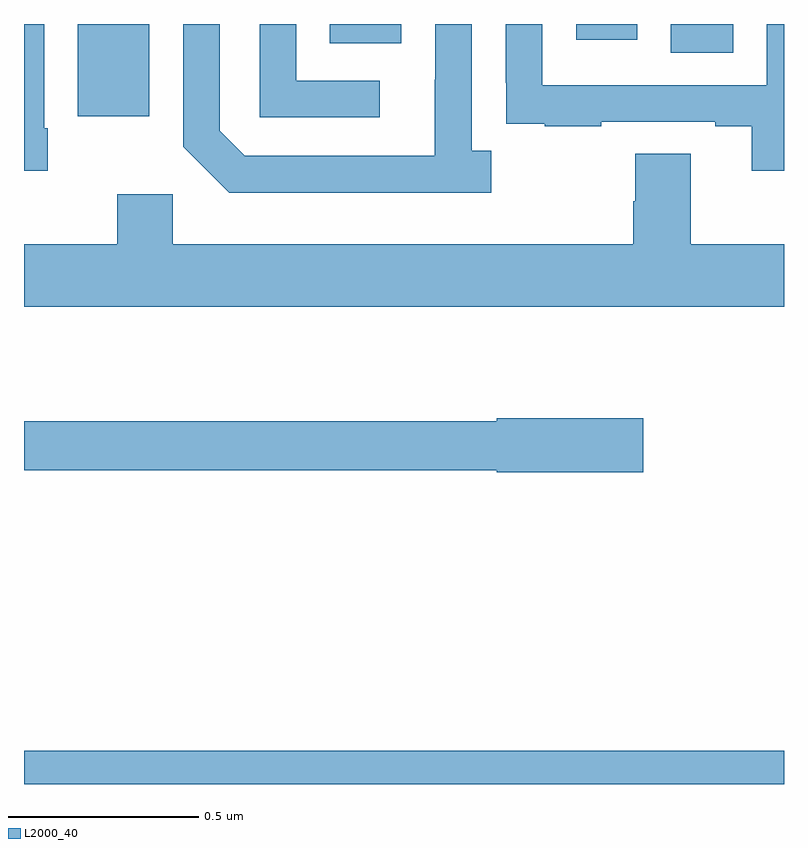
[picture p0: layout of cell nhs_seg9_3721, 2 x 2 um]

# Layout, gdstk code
import gdstk
lib = gdstk.Library(unit=1e-6, precision=1e-09)
def R(c, l, rs):  # rectangles x0, y0, x1, y1
    for r in rs: c.add(gdstk.rectangle(r[:2], r[2:], *l))
def P(c, l, *ps):  # polygons
    for p in ps: c.add(gdstk.Polygon(p, *l))
L2000_40 = (2000, 40)

nhs_seg9_3721 = lib.new_cell('nhs_seg9_3721')
R(nhs_seg9_3721, L2000_40, [(157,1192.5,159,1192.588), (157.142,1194.257,157.33,1194.5), (158.702,1194.424,158.866,1194.5), (157.805,1194.449,157.993,1194.5), (158.453,1194.459,158.614,1194.5)])
P(nhs_seg9_3721, L2000_40, [(159,1194.5),(158.955,1194.5),(158.955,1194.339),(158.364,1194.339),(158.364,1194.5),(158.268,1194.5),(158.268,1194.346),(158.269,1194.346),(158.269,1194.237),(158.371,1194.237),(158.371,1194.231),(158.519,1194.231),(158.519,1194.243),(158.819,1194.243),(158.819,1194.231),(158.915,1194.231),(158.915,1194.114),(159,1194.114)],
  [(158.23,1194.166),(158.178,1194.166),(158.178,1194.5),(158.082,1194.5),(158.082,1194.353),(158.081,1194.353),(158.081,1194.153),(157.581,1194.153),(157.515,1194.219),(157.515,1194.5),(157.419,1194.5),(157.419,1194.177),(157.54,1194.056),(158.23,1194.056)],
  [(157.936,1194.351),(157.716,1194.351),(157.716,1194.5),(157.62,1194.5),(157.62,1194.255),(157.936,1194.255)],
  [(157.062,1194.226),(157.053,1194.226),(157.053,1194.5),(157,1194.5),(157,1194.114),(157.062,1194.114)],
  [(159,1193.92),(158.755,1193.92),(158.755,1194.158),(158.608,1194.158),(158.608,1194.033),(158.603,1194.033),(158.603,1193.92),(157.392,1193.92),(157.392,1194.052),(157.246,1194.052),(157.246,1193.92),(157,1193.92),(157,1193.756),(159,1193.756)],
  [(158.629,1193.463),(158.244,1193.463),(158.244,1193.455),(157,1193.455),(157,1193.326),(158.244,1193.326),(158.244,1193.321),(158.629,1193.321)])

lib.write_gds('nhs_seg9_3721.gds')
